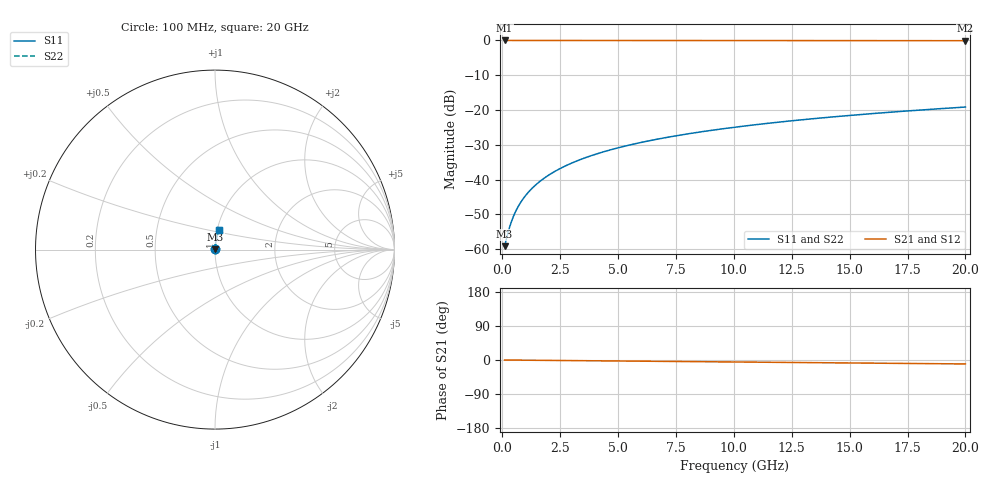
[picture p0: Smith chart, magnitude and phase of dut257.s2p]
! Touchstone file exported from HFSS 2026.1.0
!  File:  C:/ffzhzh/LocalFiles/Ansys_Project_Files/temp_train_TSV_257_1782992995_42984.aedt
!  Generated:  07:52:20 PM Jul  2, 2026
!  Design:  TSV
!  Project:  temp_train_TSV_257_1782992995_42984
! Variables:
!  h_bsmrdl = 2um
!  h_ox = 20um
!  h_rdl = 5um
!  h_sub = 80.21um
!  h_tmrdl = 5um
!  h_tsv = 80.21um
!  h_via = 3um
!  l_bsmrdl = 300um
!  l_sub = 406.34um
!  l_tmrdl = 200um
!  m_sub = 200um
!  pitch = 42.33um
!  r_tsv = 3.17um
!  s_tmrdl = 10um
!  w_bsmrdl = 18um
!  w_sub = 500um
!  w_tmrdl = 12um
!  x_tsv_center1 = 206um
!  x_tsv_center2 = 524um
!  x_tsv_center3 = 736um
!  x_tsv_center4 = 1054um
!  x_tsv_center5 = 1266um
!  x_tsv_center6 = 1584um
# GHz S MA R 50.000000
! Terminal data exported
! Port[1] = TSV1_1_T1
! Port[2] = TSV1_1_T2
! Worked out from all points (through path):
!   200 points, 100 MHz to 20 GHz, reference 50 ohm
!   highest |S21| = -0.01 dB at 100 MHz (marker M1); lowest = -0.1 dB at 20 GHz (marker M2)
!   group delay of S21, straight-line fit = 1.44 ps
!   lowest |S11| = -59.1 dB at 100 MHz (marker M3), VSWR 1.00, Z = 50.1 + j0.0589 ohm
!   |S11| at or under -10 dB: start of sweep to end of sweep
!   |S22| runs from -59.1 to -19.1 dB; largest |S21 - S12| = 5.5e-15
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0.1  0.001107 32.1  0.9991 -0.1  0.9991 -0.1  0.001107 32.1
! Gamma 0 0 0 0
! Port Impedance 50 0 50 0
0.2  0.001507 51.1  0.9991 -0.1  0.9991 -0.1  0.001507 51.1
0.3  0.001999 61.4  0.999 -0.2  0.999 -0.2  0.001999 61.4
0.4  0.002526 67.4  0.999 -0.2  0.999 -0.2  0.002526 67.4
0.5  0.00307 71.3  0.999 -0.3  0.999 -0.3  0.00307 71.3
0.6  0.003623 74.0  0.999 -0.3  0.999 -0.3  0.003623 74.0
0.8  0.004745 77.5  0.999 -0.4  0.999 -0.4  0.004745 77.5
1.1  0.006446 80.4  0.999 -0.6  0.999 -0.6  0.006446 80.4
1.5  0.00873 82.4  0.9989 -0.8  0.9989 -0.8  0.00873 82.4
1.8  0.01045 83.2  0.9989 -1.0  0.9989 -1.0  0.01045 83.2
2.1  0.01216 83.8  0.9988 -1.1  0.9988 -1.1  0.01216 83.8
2.7  0.0156 84.3  0.9987 -1.4  0.9987 -1.4  0.0156 84.3
3.5  0.02016 84.6  0.9985 -1.9  0.9985 -1.9  0.02016 84.6
4.2  0.02413 84.6  0.9984 -2.2  0.9984 -2.2  0.02413 84.6
5  0.02865 84.4  0.9981 -2.6  0.9981 -2.6  0.02865 84.4
5.9  0.0337 84.1  0.9978 -3.1  0.9978 -3.1  0.0337 84.1
6.8  0.03873 83.8  0.9975 -3.6  0.9975 -3.6  0.03873 83.8
8.3  0.04705 83.2  0.9969 -4.4  0.9969 -4.4  0.04705 83.2
10.1  0.05696 82.5  0.9961 -5.3  0.9961 -5.3  0.05696 82.5
13.4  0.07495 81.0  0.9946 -7.0  0.9946 -7.0  0.07495 81.0
16.7  0.09276 79.5  0.9928 -8.7  0.9928 -8.7  0.09276 79.5
20  0.1104 78.0  0.9907 -10.4  0.9907 -10.4  0.1104 78.0
